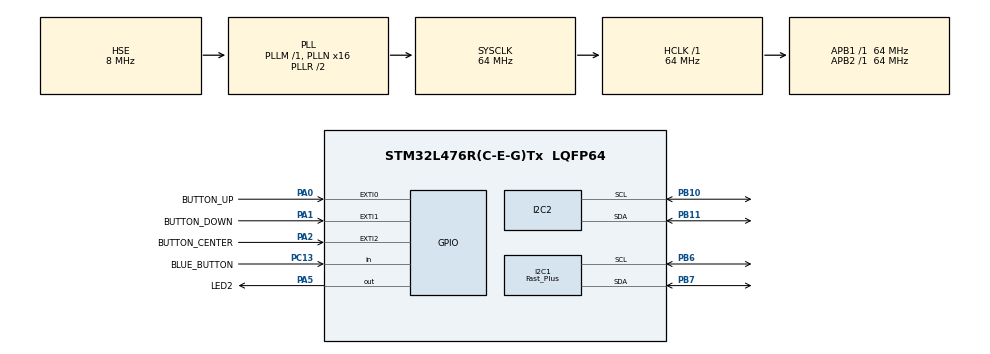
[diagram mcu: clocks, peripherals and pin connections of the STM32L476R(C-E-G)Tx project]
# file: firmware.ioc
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I2C1.I2C_Speed_Mode=I2C_Fast_Plus
I2C1.Timing=0x00300B29
I2C2.Timing=0x10707DBC
Mcu.Family=STM32L4
Mcu.Name=STM32L476R(C-E-G)Tx
Mcu.Package=LQFP64
NVIC.EXTI0_IRQn=true\:0\:0\:false\:false\:true\:true\:true
NVIC.EXTI1_IRQn=true\:0\:0\:false\:false\:true\:true\:true
NVIC.EXTI2_IRQn=true\:0\:0\:false\:false\:true\:true\:true
NVIC.PriorityGroup=NVIC_PRIORITYGROUP_4
PA0.GPIO_Label=BUTTON_UP
PA0.GPIO_ModeDefaultEXTI=GPIO_MODE_IT_RISING_FALLING
PA0.GPIO_PuPd=GPIO_PULLUP
PA0.Signal=GPXTI0
PA1.GPIO_Label=BUTTON_DOWN
PA1.GPIO_ModeDefaultEXTI=GPIO_MODE_IT_RISING_FALLING
PA1.GPIO_PuPd=GPIO_PULLUP
PA1.Signal=GPXTI1
PA13\ (JTMS-SWDIO).Mode=Trace_Asynchronous_SW
PA13\ (JTMS-SWDIO).Signal=SYS_JTMS-SWDIO
PA14\ (JTCK-SWCLK).Mode=Trace_Asynchronous_SW
PA14\ (JTCK-SWCLK).Signal=SYS_JTCK-SWCLK
PA2.GPIO_Label=BUTTON_CENTER
PA2.GPIO_ModeDefaultEXTI=GPIO_MODE_IT_RISING_FALLING
PA2.GPIO_PuPd=GPIO_PULLUP
PA2.Signal=GPXTI2
PA5.GPIO_Label=LED2
PA5.Signal=GPIO_Output
PB10.Mode=I2C
PB10.Signal=I2C2_SCL
PB11.Mode=I2C
PB11.Signal=I2C2_SDA
PB3\ (JTDO-TRACESWO).Mode=Trace_Asynchronous_SW
PB3\ (JTDO-TRACESWO).Signal=SYS_JTDO-SWO
PB6.Mode=I2C
PB6.Signal=I2C1_SCL
PB7.Mode=I2C
PB7.Signal=I2C1_SDA
PC13.GPIO_Label=BLUE_BUTTON
PC13.GPIO_PuPd=GPIO_PULLUP
PC13.Signal=GPIO_Input
PC14-OSC32_IN\ (PC14).Mode=LSE-External-Oscillator
PC14-OSC32_IN\ (PC14).Signal=RCC_OSC32_IN
PC15-OSC32_OUT\ (PC15).Mode=LSE-External-Oscillator
PC15-OSC32_OUT\ (PC15).Signal=RCC_OSC32_OUT
PH0-OSC_IN\ (PH0).Mode=HSE-External-Oscillator
PH0-OSC_IN\ (PH0).Signal=RCC_OSC_IN
PH1-OSC_OUT\ (PH1).Mode=HSE-External-Oscillator
PH1-OSC_OUT\ (PH1).Signal=RCC_OSC_OUT
ProjectManager.HeapSize=0x200
ProjectManager.StackSize=0x400
ProjectManager.TargetToolchain=EWARM V8.32
RCC.ADCFreq_Value=32000000
RCC.AHBFreq_Value=64000000
RCC.APB1Freq_Value=64000000
RCC.APB1TimFreq_Value=64000000
RCC.APB2Freq_Value=64000000
RCC.APB2TimFreq_Value=64000000
RCC.CortexFreq_Value=64000000
RCC.HCLKFreq_Value=64000000
RCC.HSE_VALUE=8000000
RCC.HSI_VALUE=16000000
RCC.MSI_VALUE=4000000
RCC.PLLN=16
RCC.PLLSourceVirtual=RCC_PLLSOURCE_HSE
RCC.RTCClockSelection=RCC_RTCCLKSOURCE_LSE
RCC.SYSCLKFreq_VALUE=64000000
RCC.SYSCLKSource=RCC_SYSCLKSOURCE_PLLCLK
RCC.USBFreq_Value=32000000
RCC.VCOOutputFreq_Value=128000000
VP_RTC_VS_RTC_Activate.Mode=RTC_Enabled
board=custom

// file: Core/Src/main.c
/* USER CODE BEGIN Header */
/**
  ******************************************************************************
  * @file           : main.c
  * @brief          : Main program body
  ******************************************************************************
  * @attention
  *
  * <h2><center>&copy; Copyright (c) 2021 STMicroelectronics.
  * All rights reserved.</center></h2>
  *
  * This software component is licensed by ST under BSD 3-Clause license,
  * the "License"; You may not use this file except in compliance with the
  * License. You may obtain a copy of the License at:
  *                        opensource.org/licenses/BSD-3-Clause
  *
  ******************************************************************************
  */
/* USER CODE END Header */
#include "main.h"

/* USER CODE BEGIN Includes */
#include <stdio.h>
#include "stm32l4xx_it.h"
#include "app_timer.h"
#include "oring_buf.h"
#include "menu_lib.h"
#include "ssd1306_tests.h"
#include "BMPXX80.h"
/* USER CODE END Includes */

I2C_HandleTypeDef hi2c1;
I2C_HandleTypeDef hi2c2;

RTC_HandleTypeDef hrtc;

/* USER CODE BEGIN PV */
bool update_flag = false;
uint8_t _hour, _minute, new_minute, new_hour;
menu_def_t main_mnu_h, units_mnu_h, time_mnu_h, min_mnu_h;
/* USER CODE END PV */

void SystemClock_Config(void);
static void MX_GPIO_Init(void);
static void MX_I2C1_Init(void);
static void MX_I2C2_Init(void);
static void MX_RTC_Init(void);
/* USER CODE BEGIN PFP */
static void create_main_menu();
static void create_units_menu();
static void create_time_menu();
static void create_minute_menu();

static void handle_main_menu();
static void handle_units_menu();
static void handle_time_menu();
static void handle_minute_menu();
/* USER CODE END PFP */

int main(void)
{
  /* USER CODE BEGIN 1 */
  float pressure_groung = 0;
  /* USER CODE END 1 */

  /* MCU Configuration--------------------------------------------------------*/

  /* Reset of all peripherals, Initializes the Flash interface and the Systick. */
  HAL_Init();

  /* Configure the system clock */
  SystemClock_Config();

  /* Initialize all configured peripherals */
  MX_GPIO_Init();
  MX_I2C1_Init();
  MX_I2C2_Init();
  MX_RTC_Init();
  /* USER CODE BEGIN 2 */
  HAL_RTCEx_EnableBypassShadow(&hrtc);
  button_timers_init();
  float null_level_pa =101000;
#ifdef BME280
  BME280_Init(&hi2c2, BME280_TEMPERATURE_16BIT, BME280_PRESSURE_ULTRALOWPOWER, BME280_HUMINIDITY_STANDARD, BME280_NORMALMODE );
  BME280_SetConfig(BME280_STANDBY_MS_10, BME280_FILTER_X8 );
#endif
  ssd1306_Init();
  ssd1306_Fill(Black);
  create_main_menu();
  create_units_menu();
  create_time_menu();
  create_minute_menu();
  /* USER CODE END 2 */

  /* Infinite loop */
  /* USER CODE BEGIN WHILE */
  //float temp_grad = 0;
  while (1)
  {
    while (!update_flag)
    {
    //sleep
    }
    update_flag = false;
    uint32_t got_event;
    if(oring_buf_get(&got_event))
    {
      switch (got_event)
      {
        case EVENT_CENTER_PRESSED:
          handle_main_menu();
          break;

        case EVENT_UP_PRESSED:
          printf("Up pressed\r\n");
          break;

        case EVENT_DOWN_PRESSED:
          printf("Down pressed\r\n");
          break;
      }

      printf("event %d\r\n", got_event);
    }
    float _tmpr;
    int32_t _pressure;
    float _humin;
    BME280_ReadTemperatureAndPressureAndHuminidity(&_tmpr, &_pressure, &_humin);
    float altitude = 44330*(1.0-pow(_pressure/null_level_pa, 0.1903));
    ssd1306_Fill(Black);
    tempr_display((uint8_t)_tmpr);
    time_display(_hour, _minute);
    altitude_display((int16_t)altitude, true);
    static uint8_t k=0;
    progress_bar(FIT_LEFT, k);
    progress_bar(FIT_RIGHT, k);
    if(++k>8)
      k=0;

    static uint8_t bl=0;
    battery_bar(bl, false);
    if(++bl>3)
      bl=0;

    ssd1306_UpdateScreen();
    printf("\ralttitude = %.2f m. Temperature = %.2f grad C Time %d:%d",  altitude,_tmpr,_hour,_minute);
    /* USER CODE END WHILE */

  }
}

void SystemClock_Config(void)
{
  RCC_OscInitTypeDef RCC_OscInitStruct = {0};
  RCC_ClkInitTypeDef RCC_ClkInitStruct = {0};
  RCC_PeriphCLKInitTypeDef PeriphClkInit = {0};

  /** Configure LSE Drive Capability
  */
  HAL_PWR_EnableBkUpAccess();
  __HAL_RCC_LSEDRIVE_CONFIG(RCC_LSEDRIVE_LOW);
  /** Initializes the RCC Oscillators according to the specified parameters
  * in the RCC_OscInitTypeDef structure.
  */
  RCC_OscInitStruct.OscillatorType = RCC_OSCILLATORTYPE_HSE|RCC_OSCILLATORTYPE_LSE;
  RCC_OscInitStruct.HSEState = RCC_HSE_ON;
  RCC_OscInitStruct.LSEState = RCC_LSE_ON;
  RCC_OscInitStruct.PLL.PLLState = RCC_PLL_ON;
  RCC_OscInitStruct.PLL.PLLSource = RCC_PLLSOURCE_HSE;
  RCC_OscInitStruct.PLL.PLLM = 1;
  RCC_OscInitStruct.PLL.PLLN = 16;
  RCC_OscInitStruct.PLL.PLLP = RCC_PLLP_DIV7;
  RCC_OscInitStruct.PLL.PLLQ = RCC_PLLQ_DIV2;
  RCC_OscInitStruct.PLL.PLLR = RCC_PLLR_DIV2;
  if (HAL_RCC_OscConfig(&RCC_OscInitStruct) != HAL_OK)
  {
    Error_Handler();
  }
  /** Initializes the CPU, AHB and APB buses clocks
  */
  RCC_ClkInitStruct.ClockType = RCC_CLOCKTYPE_HCLK|RCC_CLOCKTYPE_SYSCLK
                              |RCC_CLOCKTYPE_PCLK1|RCC_CLOCKTYPE_PCLK2;
  RCC_ClkInitStruct.SYSCLKSource = RCC_SYSCLKSOURCE_PLLCLK;
  RCC_ClkInitStruct.AHBCLKDivider = RCC_SYSCLK_DIV1;
  RCC_ClkInitStruct.APB1CLKDivider = RCC_HCLK_DIV1;
  RCC_ClkInitStruct.APB2CLKDivider = RCC_HCLK_DIV1;

  if (HAL_RCC_ClockConfig(&RCC_ClkInitStruct, FLASH_LATENCY_3) != HAL_OK)
  {
    Error_Handler();
  }
  PeriphClkInit.PeriphClockSelection = RCC_PERIPHCLK_RTC|RCC_PERIPHCLK_I2C1
                              |RCC_PERIPHCLK_I2C2;
  PeriphClkInit.I2c1ClockSelection = RCC_I2C1CLKSOURCE_PCLK1;
  PeriphClkInit.I2c2ClockSelection = RCC_I2C2CLKSOURCE_PCLK1;
  PeriphClkInit.RTCClockSelection = RCC_RTCCLKSOURCE_LSE;
  if (HAL_RCCEx_PeriphCLKConfig(&PeriphClkInit) != HAL_OK)
  {
    Error_Handler();
  }
  /** Configure the main internal regulator output voltage
  */
  if (HAL_PWREx_ControlVoltageScaling(PWR_REGULATOR_VOLTAGE_SCALE1) != HAL_OK)
  {
    Error_Handler();
  }
}

static void MX_I2C1_Init(void)
{

  hi2c1.Instance = I2C1;
  hi2c1.Init.Timing = 0x00300B29;
  hi2c1.Init.OwnAddress1 = 0;
  hi2c1.Init.AddressingMode = I2C_ADDRESSINGMODE_7BIT;
  hi2c1.Init.DualAddressMode = I2C_DUALADDRESS_DISABLE;
  hi2c1.Init.OwnAddress2 = 0;
  hi2c1.Init.OwnAddress2Masks = I2C_OA2_NOMASK;
  hi2c1.Init.GeneralCallMode = I2C_GENERALCALL_DISABLE;
  hi2c1.Init.NoStretchMode = I2C_NOSTRETCH_DISABLE;
  if (HAL_I2C_Init(&hi2c1) != HAL_OK)
  {
    Error_Handler();
  }
  /** Configure Analogue filter
  */
  if (HAL_I2CEx_ConfigAnalogFilter(&hi2c1, I2C_ANALOGFILTER_ENABLE) != HAL_OK)
  {
    Error_Handler();
  }
  /** Configure Digital filter
  */
  if (HAL_I2CEx_ConfigDigitalFilter(&hi2c1, 0) != HAL_OK)
  {
    Error_Handler();
  }
  /** I2C Fast mode Plus enable
  */
  HAL_I2CEx_EnableFastModePlus(I2C_FASTMODEPLUS_I2C1);

}

static void MX_I2C2_Init(void)
{

  hi2c2.Instance = I2C2;
  hi2c2.Init.Timing = 0x10707DBC;
  hi2c2.Init.OwnAddress1 = 0;
  hi2c2.Init.AddressingMode = I2C_ADDRESSINGMODE_7BIT;
  hi2c2.Init.DualAddressMode = I2C_DUALADDRESS_DISABLE;
  hi2c2.Init.OwnAddress2 = 0;
  hi2c2.Init.OwnAddress2Masks = I2C_OA2_NOMASK;
  hi2c2.Init.GeneralCallMode = I2C_GENERALCALL_DISABLE;
  hi2c2.Init.NoStretchMode = I2C_NOSTRETCH_DISABLE;
  if (HAL_I2C_Init(&hi2c2) != HAL_OK)
  {
    Error_Handler();
  }
  /** Configure Analogue filter
  */
  if (HAL_I2CEx_ConfigAnalogFilter(&hi2c2, I2C_ANALOGFILTER_ENABLE) != HAL_OK)
  {
    Error_Handler();
  }
  /** Configure Digital filter
  */
  if (HAL_I2CEx_ConfigDigitalFilter(&hi2c2, 0) != HAL_OK)
  {
    Error_Handler();
  }

}

static void MX_RTC_Init(void)
{

  /** Initialize RTC Only
  */
  hrtc.Instance = RTC;
  hrtc.Init.HourFormat = RTC_HOURFORMAT_24;
  hrtc.Init.AsynchPrediv = 127;
  hrtc.Init.SynchPrediv = 255;
  hrtc.Init.OutPut = RTC_OUTPUT_DISABLE;
  hrtc.Init.OutPutRemap = RTC_OUTPUT_REMAP_NONE;
  hrtc.Init.OutPutPolarity = RTC_OUTPUT_POLARITY_HIGH;
  hrtc.Init.OutPutType = RTC_OUTPUT_TYPE_OPENDRAIN;
  if (HAL_RTC_Init(&hrtc) != HAL_OK)
  {
    Error_Handler();
  }

}

static void MX_GPIO_Init(void)
{
  GPIO_InitTypeDef GPIO_InitStruct = {0};

  /* GPIO Ports Clock Enable */
  __HAL_RCC_GPIOC_CLK_ENABLE();
  __HAL_RCC_GPIOH_CLK_ENABLE();
  __HAL_RCC_GPIOA_CLK_ENABLE();
  __HAL_RCC_GPIOB_CLK_ENABLE();

  /*Configure GPIO pin Output Level */
  HAL_GPIO_WritePin(LED2_GPIO_Port, LED2_Pin, GPIO_PIN_RESET);

  /*Configure GPIO pin : BLUE_BUTTON_Pin */
  GPIO_InitStruct.Pin = BLUE_BUTTON_Pin;
  GPIO_InitStruct.Mode = GPIO_MODE_INPUT;
  GPIO_InitStruct.Pull = GPIO_PULLUP;
  HAL_GPIO_Init(BLUE_BUTTON_GPIO_Port, &GPIO_InitStruct);

  /*Configure GPIO pins : BUTTON_UP_Pin BUTTON_DOWN_Pin BUTTON_CENTER_Pin */
  GPIO_InitStruct.Pin = BUTTON_UP_Pin|BUTTON_DOWN_Pin|BUTTON_CENTER_Pin;
  GPIO_InitStruct.Mode = GPIO_MODE_IT_RISING_FALLING;
  GPIO_InitStruct.Pull = GPIO_PULLUP;
  HAL_GPIO_Init(GPIOA, &GPIO_InitStruct);

  /*Configure GPIO pin : LED2_Pin */
  GPIO_InitStruct.Pin = LED2_Pin;
  GPIO_InitStruct.Mode = GPIO_MODE_OUTPUT_PP;
  GPIO_InitStruct.Pull = GPIO_NOPULL;
  GPIO_InitStruct.Speed = GPIO_SPEED_FREQ_LOW;
  HAL_GPIO_Init(LED2_GPIO_Port, &GPIO_InitStruct);

  /* EXTI interrupt init*/
  HAL_NVIC_SetPriority(EXTI0_IRQn, 0, 0);
  HAL_NVIC_EnableIRQ(EXTI0_IRQn);

  HAL_NVIC_SetPriority(EXTI1_IRQn, 0, 0);
  HAL_NVIC_EnableIRQ(EXTI1_IRQn);

  HAL_NVIC_SetPriority(EXTI2_IRQn, 0, 0);
  HAL_NVIC_EnableIRQ(EXTI2_IRQn);

}

/* USER CODE BEGIN 4 */
void pass_to_main_context(uint8_t hour, uint8_t min)
{
  _hour=hour;
  _minute=min;
  update_flag = true;
}

//------------------------------------------------
static void create_main_menu()
{
  main_mnu_h = menu_create(8,0);
  menu_add(main_mnu_h, 0, "units", handle_units_menu);
  menu_add(main_mnu_h, 1, "freefall mc", NULL);
  menu_add(main_mnu_h, 2, "deployment he", NULL);
  menu_add(main_mnu_h, 3, "contrast", NULL);
  menu_add(main_mnu_h, 4, "shift_texts", NULL);
  menu_add(main_mnu_h, 5, "recorder jump", NULL);
  menu_add(main_mnu_h, 6, "language", NULL);
  menu_add(main_mnu_h, 7, "<-", NULL);
}

//------------------------------------------------
static void create_units_menu()
{
  units_mnu_h = menu_create(5,0);
  menu_add(units_mnu_h, 0, "year", NULL);
  menu_add(units_mnu_h, 1, "month", NULL);
  menu_add(units_mnu_h, 2, "time", handle_time_menu);
  menu_add(units_mnu_h, 3, "serial", NULL);
  menu_add(units_mnu_h, 4, "<<-", NULL);
}

//------------------------------------------------
static void create_time_menu()
{
  static char labels_hours[24][4];
  time_mnu_h = menu_create(24, _hour);
  for(uint8_t i=0; i<24; i++)
  {
    snprintf(&labels_hours[i][0], 4 ,"%d", i);
    menu_add(time_mnu_h, i, &labels_hours[i][0], handle_minute_menu);
  }
}

//------------------------------------------------
static void create_minute_menu()
{
  static char labels_mins[60][4];
  min_mnu_h = menu_create(60, _minute);
  for(uint8_t i=0; i<60; i++)
  {
    snprintf(&labels_mins[i][0], 4 ,"%d", i);
    menu_add(min_mnu_h, i, &labels_mins[i][0], NULL);
  }
}

//-------------------------------------------
static uint32_t handle_usual_menu(menu_def_t menu_inst, char *logo)
{
#define SET_SHIFT_TEXT 4 //in pixels
  SSD1306_COLOR color;
  FontDef  font = Font_6x8;
  uint32_t got_event, activ_e;
  char  text[16];
  bool mnu_leave_flag = false;
  do
  {
    // out to display a text of menu
    ssd1306_Fill(Black);
    activ_e = menu_get_active_elem(menu_inst);
    uint8_t n=0;
    uint8_t col= SET_SHIFT_TEXT * 2;
    int8_t  shift_text = -SET_SHIFT_TEXT;
    for(int32_t i=(int32_t)activ_e-2; i<(int32_t)activ_e+3; i++)
    {
      uint8_t row = font.FontHeight*n++;
      if (i==activ_e)
      {
        color = Black;
        shift_text *= -1;
      }
      else
       color = White;

      ssd1306_SetCursor(col, row);
      col += shift_text;
      ssd1306_WriteString(menu_get_string(menu_inst, i), font, color);
      if ((logo) && (i==activ_e))
      ssd1306_WriteString(logo, font, White);
    }
    ssd1306_UpdateScreen();

    // wait keypress
    while(!oring_buf_get(&got_event)) //wait any key press
    {
      //TODO should sleep
    }
    switch (got_event)
    {
      case EVENT_CENTER_PRESSED:
        mnu_leave_flag = true;
        break;

      case EVENT_UP_PRESSED:
        menu_list_up(menu_inst);
        break;

      case EVENT_DOWN_PRESSED:
        menu_list_down(menu_inst);
        break;
    }
  } while (!mnu_leave_flag);

  // exit to next menu for example
  return (activ_e);
}

//-------------------------------------------
static void handle_main_menu()
{
  do
  {
    printf("\r\nenter to 'main' menu");
    if (handle_usual_menu(main_mnu_h, NULL) != 7)
      menu_enter_to_submenu(main_mnu_h);
    else
      break;
  } while(1);
}

//-------------------------------------------
static void handle_units_menu()
{
  do
  {
    printf("\r\nenter to 'units' menu");
    if (handle_usual_menu(units_mnu_h, NULL) != 4)
      menu_enter_to_submenu(units_mnu_h);
    else
      break;
  } while(1);
}

//-------------------------------------------
static void handle_time_menu()
{
  printf("\r\nenter to 'time-hours' menu");
  menu_set_active_elem(time_mnu_h, _hour);
  RTC_TimeTypeDef   new_time;
  new_time.Hours = handle_usual_menu(time_mnu_h, "   HR");
  menu_enter_to_submenu(time_mnu_h);
  new_time.Minutes = new_minute;
  new_time.Seconds = 0;
  new_time.TimeFormat = RTC_FORMAT_BIN;
  HAL_RTC_SetTime(&hrtc, &new_time, RTC_FORMAT_BIN);
}

//-------------------------------------------
static void handle_minute_menu()
{
  printf("\r\nenter to 'time-minutes' menu");
  menu_set_active_elem(min_mnu_h, _minute);
  new_minute = handle_usual_menu(min_mnu_h, "   MIN");
}

/* USER CODE END 4 */

void Error_Handler(void)
{
  __disable_irq();
  while (1)
  {
  }
}

/************************ (C) COPYRIGHT STMicroelectronics *****END OF FILE****/
